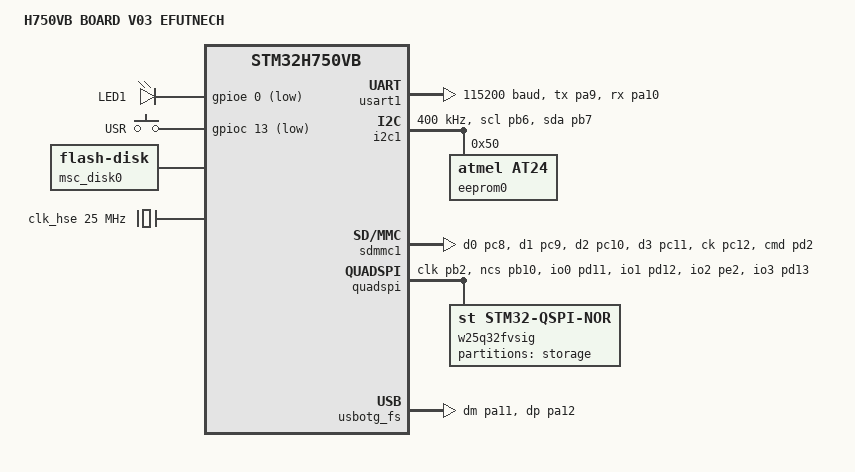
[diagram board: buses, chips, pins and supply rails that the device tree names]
/*
 * Copyright (c) 2025 maminjie <canpool@163.com>
 *
 * SPDX-License-Identifier: Apache-2.0
 */

/dts-v1/;
#include <st/h7/stm32h750Xb.dtsi>
#include <st/h7/stm32h750vbtx-pinctrl.dtsi>
#include <zephyr/dt-bindings/input/input-event-codes.h>

/ {
	model = "H750VB BOARD V03 EFUTNECH";
	compatible = "st,stm32h750vb";

	aliases {
		led0 = &red_led;
		sw0 = &user_button;
		spi-flash0 = &w25q32fvsig;
		eeprom-0 = &eeprom0;
	};

	chosen {
		zephyr,console = &usart1;
		zephyr,shell-uart = &usart1;
		zephyr,sram = &sram0;
		zephyr,flash = &flash0;
		zephyr,flash-controller = &w25q32fvsig;
	};

	leds {
		compatible = "gpio-leds";
		red_led: led_1 {
			gpios = <&gpioe 0 GPIO_ACTIVE_LOW>;
			label = "LED1";
			status = "okay";
		};
	};

	gpio_keys {
		compatible = "gpio-keys";
		user_button: button {
			gpios = <&gpioc 13 (GPIO_ACTIVE_LOW | GPIO_PULL_UP)>;
			zephyr,code = <INPUT_KEY_0>;
			label = "USR";
		};
	};
};

&clk_hse {
	clock-frequency = <DT_FREQ_M(25)>;
	status = "okay";
};

&clk_lse {
	status = "okay";
};

&clk_hsi48 {
	status = "okay";
};

&pll {
	div-m = <5>;
	mul-n = <192>;
	div-p = <2>;
	div-q = <4>;
	div-r = <4>;
	clocks = <&clk_hse>;
	status = "okay";
};

&pll3 {
	div-m = <5>;
	mul-n = <192>;
	div-p = <2>;
	div-q = <20>;
	div-r = <99>;
	clocks = <&clk_hse>;
	status = "okay";
};

&rcc {
	clocks = <&pll>;
	clock-frequency = <DT_FREQ_M(480)>;
	d1cpre = <1>;
	hpre = <2>;
	d1ppre = <2>;
	d2ppre1 = <2>;
	d2ppre2 = <2>;
	d3ppre = <2>;
};

&usart1 {
	pinctrl-names = "default";
	pinctrl-0 = <&usart1_tx_pa9 &usart1_rx_pa10>;
	current-speed = <115200>;
	status = "okay";
};

&i2c1 {
	pinctrl-0 = <&i2c1_scl_pb6 &i2c1_sda_pb7>;
	pinctrl-names = "default";
	status = "okay";
	clock-frequency = <I2C_BITRATE_FAST>;

	/* slave address is (0x50 << 1) */
	eeprom0: 24c02n@50 {
		compatible = "atmel,at24";
		reg = <0x50>;
		status = "okay";
		size = <256>;
		pagesize = <8>;
		address-width = <8>;
		timeout = <5>;
	};
};

&sdmmc1 {
	pinctrl-names = "default";
	pinctrl-0 = <&sdmmc1_d0_pc8 &sdmmc1_d1_pc9
		     &sdmmc1_d2_pc10 &sdmmc1_d3_pc11
		     &sdmmc1_ck_pc12 &sdmmc1_cmd_pd2>;
	cd-gpios = <&gpioa 8 GPIO_ACTIVE_LOW>;
	clocks = <&rcc STM32_CLOCK(AHB3, 16U)>,
			<&rcc STM32_SRC_PLL3_Q SDMMC_SEL(0)>;
	status = "okay";
};

&quadspi {
	pinctrl-names = "default";
	pinctrl-0 = <&quadspi_clk_pb2 &quadspi_bk1_ncs_pb10
		     &quadspi_bk1_io0_pd11 &quadspi_bk1_io1_pd12
		     &quadspi_bk1_io2_pe2 &quadspi_bk1_io3_pd13>;
	status = "okay";

	/* Sector erase 64KB uniform granularity */
	/* Subsector erase 4KB, 32KB granularity */
	w25q32fvsig: qspi-nor-flash@90000000 {
		compatible = "st,stm32-qspi-nor";
		reg = <0x90000000 DT_SIZE_M(4)>;
		qspi-max-frequency = <80000000>;
		spi-bus-width = <1>;
		status = "okay";

		partitions {
			compatible = "fixed-partitions";
			#address-cells = <1>;
			#size-cells = <1>;

			storage_partition: partition@0 {
				label = "storage";
				reg = <0x0 DT_SIZE_M(4)>;
			};
		};
	};
};

zephyr_udc0: &usbotg_fs {
	pinctrl-0 = <&usb_otg_fs_dm_pa11 &usb_otg_fs_dp_pa12>;
	pinctrl-names = "default";
	status = "okay";
};

/ {
	msc_disk0 {
		compatible = "zephyr,flash-disk";
		partition = <&storage_partition>;
		disk-name = "NAND";
		cache-size = <4096>;
	};
};
